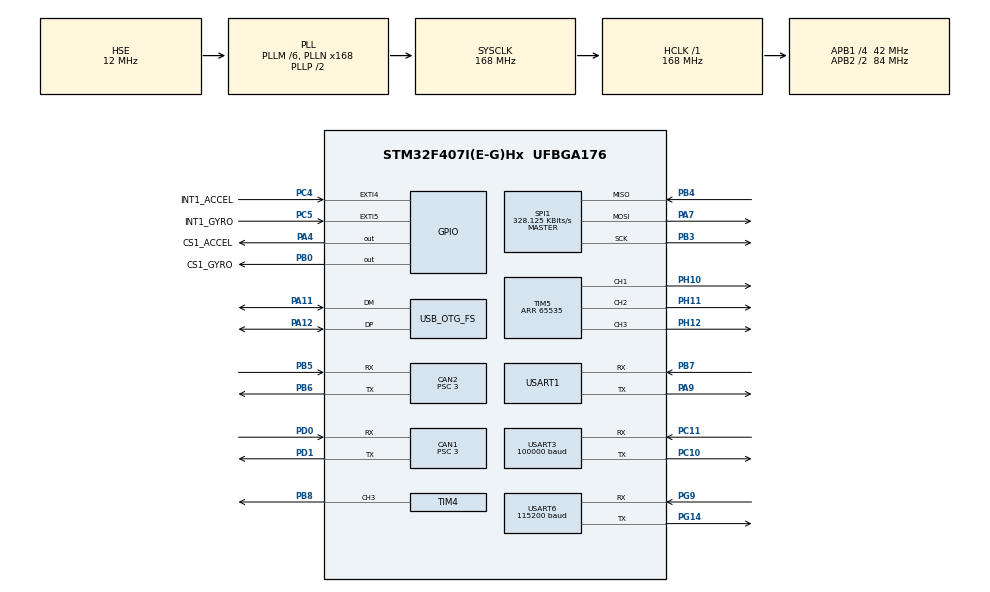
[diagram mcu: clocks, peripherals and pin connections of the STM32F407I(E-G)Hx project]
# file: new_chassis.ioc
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CAN1.BS1=CAN_BS1_10TQ
CAN1.BS2=CAN_BS2_3TQ
CAN1.CalculateBaudRate=1000000
CAN1.CalculateTimeBit=1000
CAN1.CalculateTimeQuantum=71.42857142857143
CAN1.Prescaler=3
CAN2.BS1=CAN_BS1_10TQ
CAN2.BS2=CAN_BS2_3TQ
CAN2.CalculateBaudRate=1000000
CAN2.CalculateTimeBit=1000
CAN2.CalculateTimeQuantum=71.42857142857143
CAN2.Prescaler=3
Dma.Request0=USART1_RX
Dma.Request1=USART1_TX
Dma.Request2=USART6_RX
Dma.Request3=USART6_TX
Dma.Request4=SPI1_RX
Dma.Request5=SPI1_TX
Dma.Request6=USART3_RX
Dma.SPI1_RX.4.Direction=DMA_PERIPH_TO_MEMORY
Dma.SPI1_RX.4.FIFOMode=DMA_FIFOMODE_DISABLE
Dma.SPI1_RX.4.Instance=DMA2_Stream2
Dma.SPI1_RX.4.MemDataAlignment=DMA_MDATAALIGN_BYTE
Dma.SPI1_RX.4.MemInc=DMA_MINC_ENABLE
Dma.SPI1_RX.4.Mode=DMA_NORMAL
Dma.SPI1_RX.4.PeriphDataAlignment=DMA_PDATAALIGN_BYTE
Dma.SPI1_RX.4.PeriphInc=DMA_PINC_DISABLE
Dma.SPI1_RX.4.Priority=DMA_PRIORITY_VERY_HIGH
Dma.SPI1_TX.5.Direction=DMA_MEMORY_TO_PERIPH
Dma.SPI1_TX.5.FIFOMode=DMA_FIFOMODE_DISABLE
Dma.SPI1_TX.5.Instance=DMA2_Stream3
Dma.SPI1_TX.5.MemDataAlignment=DMA_MDATAALIGN_BYTE
Dma.SPI1_TX.5.MemInc=DMA_MINC_ENABLE
Dma.SPI1_TX.5.Mode=DMA_NORMAL
Dma.SPI1_TX.5.PeriphDataAlignment=DMA_PDATAALIGN_BYTE
Dma.SPI1_TX.5.PeriphInc=DMA_PINC_DISABLE
Dma.SPI1_TX.5.Priority=DMA_PRIORITY_HIGH
Dma.USART1_RX.0.Direction=DMA_PERIPH_TO_MEMORY
Dma.USART1_RX.0.FIFOMode=DMA_FIFOMODE_DISABLE
Dma.USART1_RX.0.Instance=DMA2_Stream5
Dma.USART1_RX.0.MemDataAlignment=DMA_MDATAALIGN_BYTE
Dma.USART1_RX.0.MemInc=DMA_MINC_ENABLE
Dma.USART1_RX.0.Mode=DMA_CIRCULAR
Dma.USART1_RX.0.PeriphDataAlignment=DMA_PDATAALIGN_BYTE
Dma.USART1_RX.0.PeriphInc=DMA_PINC_DISABLE
Dma.USART1_RX.0.Priority=DMA_PRIORITY_VERY_HIGH
Dma.USART1_TX.1.Direction=DMA_MEMORY_TO_PERIPH
Dma.USART1_TX.1.FIFOMode=DMA_FIFOMODE_DISABLE
Dma.USART1_TX.1.Instance=DMA2_Stream7
Dma.USART1_TX.1.MemDataAlignment=DMA_MDATAALIGN_BYTE
Dma.USART1_TX.1.MemInc=DMA_MINC_ENABLE
Dma.USART1_TX.1.Mode=DMA_NORMAL
Dma.USART1_TX.1.PeriphDataAlignment=DMA_PDATAALIGN_BYTE
Dma.USART1_TX.1.PeriphInc=DMA_PINC_DISABLE
Dma.USART1_TX.1.Priority=DMA_PRIORITY_VERY_HIGH
Dma.USART3_RX.6.Direction=DMA_PERIPH_TO_MEMORY
Dma.USART3_RX.6.FIFOMode=DMA_FIFOMODE_DISABLE
Dma.USART3_RX.6.Instance=DMA1_Stream1
Dma.USART3_RX.6.MemDataAlignment=DMA_MDATAALIGN_BYTE
Dma.USART3_RX.6.MemInc=DMA_MINC_ENABLE
Dma.USART3_RX.6.Mode=DMA_CIRCULAR
Dma.USART3_RX.6.PeriphDataAlignment=DMA_PDATAALIGN_BYTE
Dma.USART3_RX.6.PeriphInc=DMA_PINC_DISABLE
Dma.USART3_RX.6.Priority=DMA_PRIORITY_MEDIUM
Dma.USART6_RX.2.Direction=DMA_PERIPH_TO_MEMORY
Dma.USART6_RX.2.FIFOMode=DMA_FIFOMODE_DISABLE
Dma.USART6_RX.2.Instance=DMA2_Stream1
Dma.USART6_RX.2.MemDataAlignment=DMA_MDATAALIGN_BYTE
Dma.USART6_RX.2.MemInc=DMA_MINC_ENABLE
Dma.USART6_RX.2.Mode=DMA_CIRCULAR
Dma.USART6_RX.2.PeriphDataAlignment=DMA_PDATAALIGN_BYTE
Dma.USART6_RX.2.PeriphInc=DMA_PINC_DISABLE
Dma.USART6_RX.2.Priority=DMA_PRIORITY_HIGH
Dma.USART6_TX.3.Direction=DMA_MEMORY_TO_PERIPH
Dma.USART6_TX.3.FIFOMode=DMA_FIFOMODE_DISABLE
Dma.USART6_TX.3.Instance=DMA2_Stream6
Dma.USART6_TX.3.MemDataAlignment=DMA_MDATAALIGN_BYTE
Dma.USART6_TX.3.MemInc=DMA_MINC_ENABLE
Dma.USART6_TX.3.Mode=DMA_NORMAL
Dma.USART6_TX.3.PeriphDataAlignment=DMA_PDATAALIGN_BYTE
Dma.USART6_TX.3.PeriphInc=DMA_PINC_DISABLE
Dma.USART6_TX.3.Priority=DMA_PRIORITY_HIGH
FREERTOS.INCLUDE_eTaskGetState=1
FREERTOS.INCLUDE_pcTaskGetTaskName=1
FREERTOS.INCLUDE_uxTaskGetStackHighWaterMark=1
FREERTOS.INCLUDE_uxTaskGetStackHighWaterMark2=1
FREERTOS.INCLUDE_vTaskCleanUpResources=1
FREERTOS.INCLUDE_vTaskDelayUntil=1
FREERTOS.INCLUDE_vTaskSuspend=1
FREERTOS.INCLUDE_xQueueGetMutexHolder=1
FREERTOS.INCLUDE_xSemaphoreGetMutexHolder=1
FREERTOS.INCLUDE_xTaskAbortDelay=1
FREERTOS.INCLUDE_xTaskGetCurrentTaskHandle=1
FREERTOS.INCLUDE_xTaskGetHandle=1
FREERTOS.INCLUDE_xTaskResumeFromISR=1
FREERTOS.Tasks01=defaultTask,0,128,StartDefaultTask,Default,NULL,Dynamic,NULL,NULL
FREERTOS.configENABLE_FPU=1
FREERTOS.configUSE_IDLE_HOOK=1
Mcu.Family=STM32F4
Mcu.Name=STM32F407I(E-G)Hx
Mcu.Package=UFBGA176
NVIC.CAN1_RX0_IRQn=true\:5\:0\:false\:false\:true\:true\:true\:true\:true
NVIC.CAN2_RX0_IRQn=true\:5\:0\:false\:false\:true\:true\:true\:true\:true
NVIC.DMA1_Stream1_IRQn=true\:5\:0\:false\:false\:true\:true\:false\:true\:true
NVIC.DMA2_Stream1_IRQn=true\:5\:0\:false\:false\:true\:true\:false\:true\:true
NVIC.DMA2_Stream2_IRQn=true\:5\:0\:false\:false\:true\:false\:false\:true\:true
NVIC.DMA2_Stream3_IRQn=true\:5\:0\:false\:false\:true\:true\:false\:true\:true
NVIC.DMA2_Stream5_IRQn=true\:5\:0\:false\:false\:true\:true\:false\:true\:true
NVIC.DMA2_Stream6_IRQn=true\:5\:0\:false\:false\:true\:true\:false\:true\:true
NVIC.DMA2_Stream7_IRQn=true\:5\:0\:false\:false\:true\:true\:false\:true\:true
NVIC.HASH_RNG_IRQn=true\:5\:0\:false\:false\:true\:true\:true\:true\:true
NVIC.OTG_FS_IRQn=true\:5\:0\:false\:false\:true\:true\:false\:true\:true
NVIC.PriorityGroup=NVIC_PRIORITYGROUP_4
NVIC.TIM8_TRG_COM_TIM14_IRQn=true\:15\:0\:false\:false\:true\:false\:false\:true\:true
NVIC.TimeBase=TIM8_TRG_COM_TIM14_IRQn
NVIC.TimeBaseIP=TIM14
NVIC.USART1_IRQn=true\:5\:0\:false\:false\:true\:true\:true\:true\:true
NVIC.USART3_IRQn=true\:5\:0\:false\:false\:true\:true\:true\:true\:true
NVIC.USART6_IRQn=true\:5\:0\:false\:false\:true\:true\:false\:true\:true
PA11.Mode=Device_Only
PA11.Signal=USB_OTG_FS_DM
PA12.Mode=Device_Only
PA12.Signal=USB_OTG_FS_DP
PA13.Mode=Serial_Wire
PA13.Signal=SYS_JTMS-SWDIO
PA14.Mode=Serial_Wire
PA14.Signal=SYS_JTCK-SWCLK
PA4.GPIO_Label=CS1_ACCEL
PA4.GPIO_PuPd=GPIO_PULLUP
PA4.GPIO_Speed=GPIO_SPEED_FREQ_HIGH
PA4.PinState=GPIO_PIN_SET
PA4.Signal=GPIO_Output
PA7.Mode=Full_Duplex_Master
PA7.Signal=SPI1_MOSI
PA9.GPIO_PuPd=GPIO_NOPULL
PA9.Mode=Asynchronous
PA9.Signal=USART1_TX
PB0.GPIO_Label=CS1_GYRO
PB0.GPIO_PuPd=GPIO_PULLUP
PB0.GPIO_Speed=GPIO_SPEED_FREQ_HIGH
PB0.PinState=GPIO_PIN_SET
PB0.Signal=GPIO_Output
PB3.Mode=Full_Duplex_Master
PB3.Signal=SPI1_SCK
PB4.Mode=Full_Duplex_Master
PB4.Signal=SPI1_MISO
PB5.Mode=CAN_Activate
PB5.Signal=CAN2_RX
PB6.Mode=CAN_Activate
PB6.Signal=CAN2_TX
PB7.GPIO_PuPd=GPIO_NOPULL
PB7.Mode=Asynchronous
PB7.Signal=USART1_RX
PB8.Signal=S_TIM4_CH3
PC10.GPIO_PuPd=GPIO_PULLUP
PC10.Mode=Asynchronous
PC10.Signal=USART3_TX
PC11.GPIO_PuPd=GPIO_PULLUP
PC11.Mode=Asynchronous
PC11.Signal=USART3_RX
PC4.GPIO_Label=INT1_ACCEL
PC4.GPIO_ModeDefaultEXTI=GPIO_MODE_IT_FALLING
PC4.GPIO_PuPd=GPIO_PULLUP
PC4.Signal=GPXTI4
PC5.GPIO_Label=INT1_GYRO
PC5.GPIO_ModeDefaultEXTI=GPIO_MODE_IT_FALLING
PC5.GPIO_PuPd=GPIO_PULLUP
PC5.Signal=GPXTI5
PD0.Mode=CAN_Activate
PD0.Signal=CAN1_RX
PD1.Mode=CAN_Activate
PD1.Signal=CAN1_TX
PG14.Mode=Asynchronous
PG14.Signal=USART6_TX
PG9.Mode=Asynchronous
PG9.Signal=USART6_RX
PH0-OSC_IN.Mode=HSE-External-Oscillator
PH0-OSC_IN.Signal=RCC_OSC_IN
PH1-OSC_OUT.Mode=HSE-External-Oscillator
PH1-OSC_OUT.Signal=RCC_OSC_OUT
PH10.Signal=S_TIM5_CH1
PH11.Signal=S_TIM5_CH2
PH12.Signal=S_TIM5_CH3
ProjectManager.HeapSize=0x4000
ProjectManager.StackSize=0x4000
ProjectManager.TargetToolchain=CMake
RCC.48MHZClocksFreq_Value=48000000
RCC.AHBFreq_Value=168000000
RCC.APB1CLKDivider=RCC_HCLK_DIV4
RCC.APB1Freq_Value=42000000
RCC.APB1TimFreq_Value=84000000
RCC.APB2CLKDivider=RCC_HCLK_DIV2
RCC.APB2Freq_Value=84000000
RCC.APB2TimFreq_Value=168000000
RCC.CortexFreq_Value=168000000
RCC.HCLKFreq_Value=168000000
RCC.HSE_VALUE=12000000
RCC.HSI_VALUE=16000000
RCC.LSE_VALUE=32768
RCC.PLLM=6
RCC.PLLN=168
RCC.PLLQ=7
RCC.SYSCLKFreq_VALUE=168000000
RCC.SYSCLKSource=RCC_SYSCLKSOURCE_PLLCLK
RCC.VCOOutputFreq_Value=336000000
SH.S_TIM4_CH3.0=TIM4_CH3,PWM Generation3 CH3
SH.S_TIM5_CH1.0=TIM5_CH1,PWM Generation1 CH1
SH.S_TIM5_CH2.0=TIM5_CH2,PWM Generation2 CH2
SH.S_TIM5_CH3.0=TIM5_CH3,PWM Generation3 CH3
SPI1.BaudRatePrescaler=SPI_BAUDRATEPRESCALER_256
SPI1.CLKPhase=SPI_PHASE_2EDGE
SPI1.CLKPolarity=SPI_POLARITY_HIGH
SPI1.CalculateBaudRate=328.125 KBits/s
SPI1.Direction=SPI_DIRECTION_2LINES
SPI1.Mode=SPI_MODE_MASTER
SPI1.VirtualType=VM_MASTER
STMicroelectronics.X-CUBE-ALGOBUILD.1.4.0.LibraryCcDSPOoLibraryJjDSPOoLibrary=true
TIM4.Channel-PWM\ Generation3\ CH3=TIM_CHANNEL_3
TIM4.Prescaler=167
TIM5.Channel-PWM\ Generation1\ CH1=TIM_CHANNEL_1
TIM5.Channel-PWM\ Generation2\ CH2=TIM_CHANNEL_2
TIM5.Channel-PWM\ Generation3\ CH3=TIM_CHANNEL_3
TIM5.Period=65535
USART1.VirtualMode=VM_ASYNC
USART3.BaudRate=100000
USART3.VirtualMode=VM_ASYNC
USART6.BaudRate=115200
USART6.VirtualMode=VM_ASYNC
USB_DEVICE.CLASS_NAME_FS=CDC
USB_DEVICE.VirtualMode-CDC_FS=Cdc
USB_DEVICE.VirtualModeFS=Cdc_FS
USB_OTG_FS.VirtualMode=Device_Only
VP_FREERTOS_VS_CMSIS_V1.Mode=CMSIS_V1
VP_RNG_VS_RNG.Mode=RNG_Activate
VP_STMicroelectronics.X-CUBE-ALGOBUILD_VS_DSPOoLibraryJjLibrary_1.4.0_1.4.0.Mode=DSPOoLibraryJjLibrary
VP_SYS_VS_tim14.Mode=TIM14
VP_TIM4_VS_ClockSourceINT.Mode=Internal
VP_TIM5_VS_ClockSourceINT.Mode=Internal
VP_USB_DEVICE_VS_USB_DEVICE_CDC_FS.Mode=CDC_FS
board=custom

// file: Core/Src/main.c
/* USER CODE BEGIN Header */
/**
  ******************************************************************************
  * @file           : main.c
  * @brief          : Main program body
  ******************************************************************************
  * @attention
  *
  * Copyright (c) 2026 STMicroelectronics.
  * All rights reserved.
  *
  * This software is licensed under terms that can be found in the LICENSE file
  * in the root directory of this software component.
  * If no LICENSE file comes with this software, it is provided AS-IS.
  *
  ******************************************************************************
  */
/* USER CODE END Header */
#include "main.h"
#include "cmsis_os.h"
#include "can.h"
#include "dma.h"
#include "rng.h"
#include "spi.h"
#include "tim.h"
#include "usart.h"
#include "usb_device.h"
#include "gpio.h"

/* USER CODE BEGIN Includes */
#include "bsp_uart.h"
#include "bsp_can.h"
#include "bsp_delay.h"
#include "bsp_dwt.h"
#include "BMI088driver.h"
#include "DBUS.h"
/* USER CODE END Includes */

void SystemClock_Config(void);
void MX_FREERTOS_Init(void);

int main(void)
{

  /* MCU Configuration--------------------------------------------------------*/

  /* Reset of all peripherals, Initializes the Flash interface and the Systick. */
  HAL_Init();

  /* Configure the system clock */
  SystemClock_Config();

  /* Initialize all configured peripherals */
  MX_GPIO_Init();
  MX_DMA_Init();
  MX_CAN1_Init();
  MX_CAN2_Init();
  MX_USART1_UART_Init();
  MX_USART3_UART_Init();
  MX_USART6_UART_Init();
  MX_TIM4_Init();
  MX_TIM5_Init();
  MX_SPI1_Init();
  MX_RNG_Init();
  /* USER CODE BEGIN 2 */
	DWT_Init(168);
	while (BMI088_init(&hspi1, 1) != BMI088_NO_ERROR)
			;
  uart1_init();
	dbus_uart_init();
  uart6_init();
  can_filter_init();
  delay_init();
  /* USER CODE END 2 */

  /* Call init function for freertos objects (in cmsis_os2.c) */
  MX_FREERTOS_Init();

  /* Start scheduler */
  osKernelStart();

  /* We should never get here as control is now taken by the scheduler */

  /* Infinite loop */
  while (1)
  {

  }
}

void SystemClock_Config(void)
{
  RCC_OscInitTypeDef RCC_OscInitStruct = {0};
  RCC_ClkInitTypeDef RCC_ClkInitStruct = {0};

  /** Configure the main internal regulator output voltage
  */
  __HAL_RCC_PWR_CLK_ENABLE();
  __HAL_PWR_VOLTAGESCALING_CONFIG(PWR_REGULATOR_VOLTAGE_SCALE1);

  /** Initializes the RCC Oscillators according to the specified parameters
  * in the RCC_OscInitTypeDef structure.
  */
  RCC_OscInitStruct.OscillatorType = RCC_OSCILLATORTYPE_HSE;
  RCC_OscInitStruct.HSEState = RCC_HSE_ON;
  RCC_OscInitStruct.PLL.PLLState = RCC_PLL_ON;
  RCC_OscInitStruct.PLL.PLLSource = RCC_PLLSOURCE_HSE;
  RCC_OscInitStruct.PLL.PLLM = 6;
  RCC_OscInitStruct.PLL.PLLN = 168;
  RCC_OscInitStruct.PLL.PLLP = RCC_PLLP_DIV2;
  RCC_OscInitStruct.PLL.PLLQ = 7;
  if (HAL_RCC_OscConfig(&RCC_OscInitStruct) != HAL_OK)
  {
    Error_Handler();
  }

  /** Initializes the CPU, AHB and APB buses clocks
  */
  RCC_ClkInitStruct.ClockType = RCC_CLOCKTYPE_HCLK|RCC_CLOCKTYPE_SYSCLK
                              |RCC_CLOCKTYPE_PCLK1|RCC_CLOCKTYPE_PCLK2;
  RCC_ClkInitStruct.SYSCLKSource = RCC_SYSCLKSOURCE_PLLCLK;
  RCC_ClkInitStruct.AHBCLKDivider = RCC_SYSCLK_DIV1;
  RCC_ClkInitStruct.APB1CLKDivider = RCC_HCLK_DIV4;
  RCC_ClkInitStruct.APB2CLKDivider = RCC_HCLK_DIV2;

  if (HAL_RCC_ClockConfig(&RCC_ClkInitStruct, FLASH_LATENCY_5) != HAL_OK)
  {
    Error_Handler();
  }
}

void HAL_TIM_PeriodElapsedCallback(TIM_HandleTypeDef *htim)
{
  if (htim->Instance == TIM14)
  {
    HAL_IncTick();
  }
}

void Error_Handler(void)
{
  __disable_irq();
  while (1)
  {
  }
}

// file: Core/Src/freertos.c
/* USER CODE BEGIN Header */
/**
  ******************************************************************************
  * File Name          : freertos.c
  * Description        : Code for freertos applications
  ******************************************************************************
  * @attention
  *
  * Copyright (c) 2026 STMicroelectronics.
  * All rights reserved.
  *
  * This software is licensed under terms that can be found in the LICENSE file
  * in the root directory of this software component.
  * If no LICENSE file comes with this software, it is provided AS-IS.
  *
  ******************************************************************************
  */
/* USER CODE END Header */

#include "FreeRTOS.h"
#include "task.h"
#include "main.h"
#include "cmsis_os.h"

/* USER CODE BEGIN Includes */
#include "TF_task.h"
#include "led_task.h"
#include "comm_task.h"
#include "chassis_task.h"
#include "param_tuning.h"
#include "ulog.h"
/* USER CODE END Includes */

/* USER CODE BEGIN Variables */
osThreadId tfTaskHandle;
osThreadId chassisTaskHandle;
osThreadId ledTaskHandle;
osThreadId commTaskHandle;
osThreadId logTaskHandle;
#ifdef DEBUG_MODE
osThreadId debugTaskHandle;
#endif
/* USER CODE END Variables */
osThreadId defaultTaskHandle;

void StartDefaultTask(void const * argument);

extern void MX_USB_DEVICE_Init(void);
void MX_FREERTOS_Init(void); /* (MISRA C 2004 rule 8.1) */

/* GetIdleTaskMemory prototype (linked to static allocation support) */
void vApplicationGetIdleTaskMemory( StaticTask_t **ppxIdleTaskTCBBuffer, StackType_t **ppxIdleTaskStackBuffer, uint32_t *pulIdleTaskStackSize );

/* Hook prototypes */
void vApplicationIdleHook(void);

/* USER CODE BEGIN 2 */
__weak void vApplicationIdleHook( void )
{
   /* vApplicationIdleHook() will only be called if configUSE_IDLE_HOOK is set
   to 1 in FreeRTOSConfig.h. It will be called on each iteration of the idle
   task. It is essential that code added to this hook function never attempts
   to block in any way (for example, call xQueueReceive() with a block time
   specified, or call vTaskDelay()). If the application makes use of the
   vTaskDelete() API function (as this demo application does) then it is also
   important that vApplicationIdleHook() is permitted to return to its calling
   function, because it is the responsibility of the idle task to clean up
   memory allocated by the kernel to any task that has since been deleted. */
}
/* USER CODE END 2 */

/* USER CODE BEGIN GET_IDLE_TASK_MEMORY */
static StaticTask_t xIdleTaskTCBBuffer;
static StackType_t xIdleStack[configMINIMAL_STACK_SIZE];

void vApplicationGetIdleTaskMemory( StaticTask_t **ppxIdleTaskTCBBuffer, StackType_t **ppxIdleTaskStackBuffer, uint32_t *pulIdleTaskStackSize )
{
  *ppxIdleTaskTCBBuffer = &xIdleTaskTCBBuffer;
  *ppxIdleTaskStackBuffer = &xIdleStack[0];
  *pulIdleTaskStackSize = configMINIMAL_STACK_SIZE;
  /* place for user code */
}
/* USER CODE END GET_IDLE_TASK_MEMORY */

void MX_FREERTOS_Init(void) {

  /* Create the thread(s) */
  /* definition and creation of defaultTask */
  osThreadDef(defaultTask, StartDefaultTask, osPriorityNormal, 0, 128);
  defaultTaskHandle = osThreadCreate(osThread(defaultTask), NULL);

  /* USER CODE BEGIN RTOS_THREADS */
	osThreadDef(tf_Task, TF_Task, osPriorityNormal, 0, 256);
  tfTaskHandle = osThreadCreate(osThread(tf_Task), NULL);

  osThreadDef(chassis_Task, ChassisTask, osPriorityNormal, 0, 256);
  chassisTaskHandle = osThreadCreate(osThread(chassis_Task), NULL);

	osThreadDef(led_Task, LedTask, osPriorityNormal, 0, 128);
  ledTaskHandle = osThreadCreate(osThread(led_Task), NULL);

	osThreadDef(comm_Task, commTask, osPriorityNormal, 0, 128);
  commTaskHandle = osThreadCreate(osThread(comm_Task), NULL);

  osThreadDef(log_task, ulogTask, osPriorityBelowNormal, 0, 256);
  logTaskHandle = osThreadCreate(osThread(log_task), NULL);

#ifdef DEBUG_MODE
  osThreadDef(debug_Task, param_tuning_Task, osPriorityNormal, 0, 128);
  debugTaskHandle = osThreadCreate(osThread(debug_Task), NULL);
#endif
  /* add threads, ... */
  /* USER CODE END RTOS_THREADS */

}

void StartDefaultTask(void const * argument)
{
  /* init code for USB_DEVICE */
  MX_USB_DEVICE_Init();
  for(;;)
  {
    osDelay(1);
  }
}
